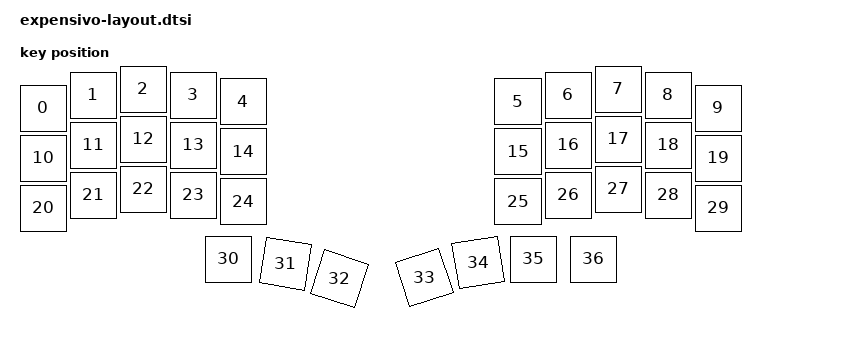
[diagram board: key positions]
#include <physical_layouts.dtsi>

/ {
    expensivo_layout: expensivo_layout {
        compatible = "zmk,physical-layout";
        display-name = "Expensivo";

        keys  //                     w   h    x    y     rot    rx    ry
            = <&key_physical_attrs 100 100    0   38       0     0     0>
            , <&key_physical_attrs 100 100  100   12       0     0     0>
            , <&key_physical_attrs 100 100  200    0       0     0     0>
            , <&key_physical_attrs 100 100  300   12       0     0     0>
            , <&key_physical_attrs 100 100  400   25       0     0     0>
            , <&key_physical_attrs 100 100  950   25       0     0     0>
            , <&key_physical_attrs 100 100 1050   12       0     0     0>
            , <&key_physical_attrs 100 100 1150    0       0     0     0>
            , <&key_physical_attrs 100 100 1250   12       0     0     0>
            , <&key_physical_attrs 100 100 1350   38       0     0     0>
            , <&key_physical_attrs 100 100    0  138       0     0     0>
            , <&key_physical_attrs 100 100  100  112       0     0     0>
            , <&key_physical_attrs 100 100  200  100       0     0     0>
            , <&key_physical_attrs 100 100  300  112       0     0     0>
            , <&key_physical_attrs 100 100  400  125       0     0     0>
            , <&key_physical_attrs 100 100  950  125       0     0     0>
            , <&key_physical_attrs 100 100 1050  112       0     0     0>
            , <&key_physical_attrs 100 100 1150  100       0     0     0>
            , <&key_physical_attrs 100 100 1250  112       0     0     0>
            , <&key_physical_attrs 100 100 1350  138       0     0     0>
            , <&key_physical_attrs 100 100    0  238       0     0     0>
            , <&key_physical_attrs 100 100  100  212       0     0     0>
            , <&key_physical_attrs 100 100  200  200       0     0     0>
            , <&key_physical_attrs 100 100  300  212       0     0     0>
            , <&key_physical_attrs 100 100  400  225       0     0     0>
            , <&key_physical_attrs 100 100  950  225       0     0     0>
            , <&key_physical_attrs 100 100 1050  212       0     0     0>
            , <&key_physical_attrs 100 100 1150  200       0     0     0>
            , <&key_physical_attrs 100 100 1250  212       0     0     0>
            , <&key_physical_attrs 100 100 1350  238       0     0     0>
            , <&key_physical_attrs 100 100  370  340       0     0     0>
            , <&key_physical_attrs 100 100  480  310     900   280   410>
            , <&key_physical_attrs 100 100  590  300    1800   390   400>
            , <&key_physical_attrs 100 100  780  390 (-1800)   780   490>
            , <&key_physical_attrs 100 100  880  370  (-900)   780   470>
            , <&key_physical_attrs 100 100  980  340       0     0     0>
            , <&key_physical_attrs 100 100 1100  340       0     0     0> // encoder push
            ;
    };
};

